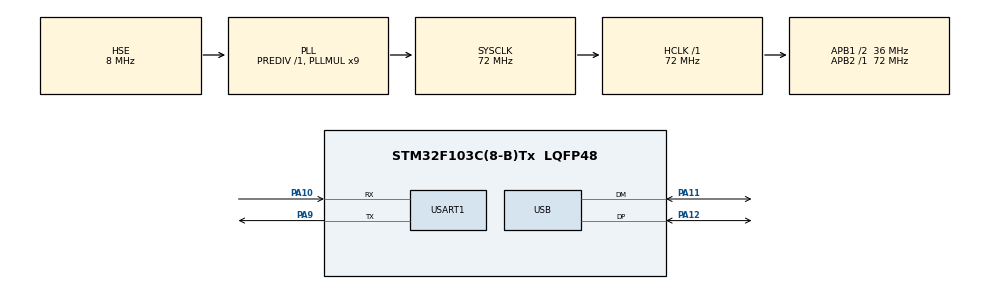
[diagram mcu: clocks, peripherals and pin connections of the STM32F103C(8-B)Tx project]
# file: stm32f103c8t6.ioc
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Mcu.Family=STM32F1
Mcu.Name=STM32F103C(8-B)Tx
Mcu.Package=LQFP48
NVIC.PriorityGroup=NVIC_PRIORITYGROUP_4
NVIC.USB_LP_CAN1_RX0_IRQn=true\:0\:0\:false\:false\:true\:true\:true
PA10.Mode=Asynchronous
PA10.Signal=USART1_RX
PA11.Mode=Device
PA11.Signal=USB_DM
PA12.Mode=Device
PA12.Signal=USB_DP
PA13.Mode=Serial_Wire
PA13.Signal=SYS_JTMS-SWDIO
PA14.Mode=Serial_Wire
PA14.Signal=SYS_JTCK-SWCLK
PA9.Mode=Asynchronous
PA9.Signal=USART1_TX
PD0-OSC_IN.Mode=HSE-External-Oscillator
PD0-OSC_IN.Signal=RCC_OSC_IN
PD1-OSC_OUT.Mode=HSE-External-Oscillator
PD1-OSC_OUT.Signal=RCC_OSC_OUT
ProjectManager.HeapSize=0x400
ProjectManager.StackSize=0x400
ProjectManager.TargetToolchain=MDK-ARM V5.27
RCC.AHBFreq_Value=72000000
RCC.APB1CLKDivider=RCC_HCLK_DIV2
RCC.APB1Freq_Value=36000000
RCC.APB1TimFreq_Value=72000000
RCC.APB2Freq_Value=72000000
RCC.APB2TimFreq_Value=72000000
RCC.HCLKFreq_Value=72000000
RCC.PLLMUL=RCC_PLL_MUL9
RCC.SYSCLKFreq_VALUE=72000000
RCC.SYSCLKSource=RCC_SYSCLKSOURCE_PLLCLK
RCC.USBFreq_Value=48000000
RCC.USBPrescaler=RCC_USBCLKSOURCE_PLL_DIV1_5
USART1.VirtualMode=VM_ASYNC
board=custom

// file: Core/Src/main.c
/* USER CODE BEGIN Header */
/**
  ******************************************************************************
  * @file           : main.c
  * @brief          : Main program body
  ******************************************************************************
  * @attention
  *
  * <h2><center>&copy; Copyright (c) 2021 STMicroelectronics.
  * All rights reserved.</center></h2>
  *
  * This software component is licensed by ST under Ultimate Liberty license
  * SLA0044, the "License"; You may not use this file except in compliance with
  * the License. You may obtain a copy of the License at:
  *                             www.st.com/SLA0044
  *
  ******************************************************************************
  */
/* USER CODE END Header */
#include "main.h"

/* USER CODE BEGIN Includes */
#include "usbd_core.h"
#include "example_select.h"
/* USER CODE END Includes */

UART_HandleTypeDef huart1;

PCD_HandleTypeDef hpcd_USB_FS;

void SystemClock_Config(void);
static void MX_GPIO_Init(void);
static void MX_USART1_UART_Init(void);
static void MX_USB_PCD_Init(void);

/* USER CODE BEGIN 0 */
int fputc(int ch, FILE *f)
{
    while ((USART1->SR & USART_SR_TXE) == 0)
        ;
    USART1->DR = ch;
    return ch;
}

void usb_dc_low_level_init(void)
{
    /* Peripheral clock enable */
    __HAL_RCC_USB_CLK_ENABLE();
    /* USB interrupt Init */
    HAL_NVIC_SetPriority(USB_LP_CAN1_RX0_IRQn, 0, 0);
    HAL_NVIC_EnableIRQ(USB_LP_CAN1_RX0_IRQn);

}
extern void usb_dc_init(void);
/* USER CODE END 0 */

int main(void)
{

    /* MCU Configuration--------------------------------------------------------*/

    /* Reset of all peripherals, Initializes the Flash interface and the Systick. */
    HAL_Init();

    /* Configure the system clock */
    SystemClock_Config();

    /* Initialize all configured peripherals */
    MX_GPIO_Init();
    MX_USART1_UART_Init();
    //MX_USB_PCD_Init();
    /* USER CODE BEGIN 2 */

#ifdef USB_CDC
    /*!< demo init */
    extern void cdc_init(void);
    cdc_init();
#elif defined USB_HID_KEYBOARD
    extern void hid_keyboard_init(void);
    hid_keyboard_init();
#elif defined USB_HID_MOUSE
    extern void hid_mouse_init(void);
    hid_mouse_init();
#elif defined USB_HID_CUSTOM
    extern void hid_custom_init(void);
    hid_custom_init();
#elif defined USB_MSC_RAM
    extern void msc_ram_init(void);
    msc_ram_init();
#endif

    /*!< init */
    usb_dc_init();

    /* USER CODE END 2 */

    /* Infinite loop */
    while (1) {

        /* USER CODE BEGIN 3 */

#ifdef USB_CDC
        /*!< cdc demo test */
        extern void cdc_test(void);
        cdc_test();
#elif defined USB_HID_KEYBOARD
        /*!< hid keyboard demo test */
        extern void hid_keyboard_test(void);
        hid_keyboard_test();
#elif defined USB_HID_MOUSE
        /*!< hid mouse demo test */
        extern void hid_mouse_test(void);
        hid_mouse_test();
#elif defined USB_HID_CUSTOM
        /*!< hid custom demo test */
        extern void hid_custom_test(void);
        hid_custom_test();
#endif
    }
    /* USER CODE END 3 */
}

void SystemClock_Config(void)
{
    RCC_OscInitTypeDef RCC_OscInitStruct = { 0 };
    RCC_ClkInitTypeDef RCC_ClkInitStruct = { 0 };
    RCC_PeriphCLKInitTypeDef PeriphClkInit = { 0 };

    /** Initializes the RCC Oscillators according to the specified parameters
  * in the RCC_OscInitTypeDef structure.
  */
    RCC_OscInitStruct.OscillatorType = RCC_OSCILLATORTYPE_HSE;
    RCC_OscInitStruct.HSEState = RCC_HSE_ON;
    RCC_OscInitStruct.HSEPredivValue = RCC_HSE_PREDIV_DIV1;
    RCC_OscInitStruct.HSIState = RCC_HSI_ON;
    RCC_OscInitStruct.PLL.PLLState = RCC_PLL_ON;
    RCC_OscInitStruct.PLL.PLLSource = RCC_PLLSOURCE_HSE;
    RCC_OscInitStruct.PLL.PLLMUL = RCC_PLL_MUL9;
    if (HAL_RCC_OscConfig(&RCC_OscInitStruct) != HAL_OK) {
        Error_Handler();
    }
    /** Initializes the CPU, AHB and APB buses clocks
  */
    RCC_ClkInitStruct.ClockType = RCC_CLOCKTYPE_HCLK | RCC_CLOCKTYPE_SYSCLK | RCC_CLOCKTYPE_PCLK1 | RCC_CLOCKTYPE_PCLK2;
    RCC_ClkInitStruct.SYSCLKSource = RCC_SYSCLKSOURCE_PLLCLK;
    RCC_ClkInitStruct.AHBCLKDivider = RCC_SYSCLK_DIV1;
    RCC_ClkInitStruct.APB1CLKDivider = RCC_HCLK_DIV2;
    RCC_ClkInitStruct.APB2CLKDivider = RCC_HCLK_DIV1;

    if (HAL_RCC_ClockConfig(&RCC_ClkInitStruct, FLASH_LATENCY_2) != HAL_OK) {
        Error_Handler();
    }
    PeriphClkInit.PeriphClockSelection = RCC_PERIPHCLK_USB;
    PeriphClkInit.UsbClockSelection = RCC_USBCLKSOURCE_PLL_DIV1_5;
    if (HAL_RCCEx_PeriphCLKConfig(&PeriphClkInit) != HAL_OK) {
        Error_Handler();
    }
}

static void MX_USART1_UART_Init(void)
{

    huart1.Instance = USART1;
    huart1.Init.BaudRate = 115200;
    huart1.Init.WordLength = UART_WORDLENGTH_8B;
    huart1.Init.StopBits = UART_STOPBITS_1;
    huart1.Init.Parity = UART_PARITY_NONE;
    huart1.Init.Mode = UART_MODE_TX_RX;
    huart1.Init.HwFlowCtl = UART_HWCONTROL_NONE;
    huart1.Init.OverSampling = UART_OVERSAMPLING_16;
    if (HAL_UART_Init(&huart1) != HAL_OK) {
        Error_Handler();
    }
}

static void MX_USB_PCD_Init(void)
{

    hpcd_USB_FS.Instance = USB;
    hpcd_USB_FS.Init.dev_endpoints = 8;
    hpcd_USB_FS.Init.speed = PCD_SPEED_FULL;
    hpcd_USB_FS.Init.low_power_enable = DISABLE;
    hpcd_USB_FS.Init.lpm_enable = DISABLE;
    hpcd_USB_FS.Init.battery_charging_enable = DISABLE;
    if (HAL_PCD_Init(&hpcd_USB_FS) != HAL_OK) {
        Error_Handler();
    }
}

static void MX_GPIO_Init(void)
{
    /* GPIO Ports Clock Enable */
    __HAL_RCC_GPIOD_CLK_ENABLE();
    __HAL_RCC_GPIOA_CLK_ENABLE();
}

void Error_Handler(void)
{
    __disable_irq();
    while (1) {
    }
}

/************************ (C) COPYRIGHT STMicroelectronics *****END OF FILE****/
